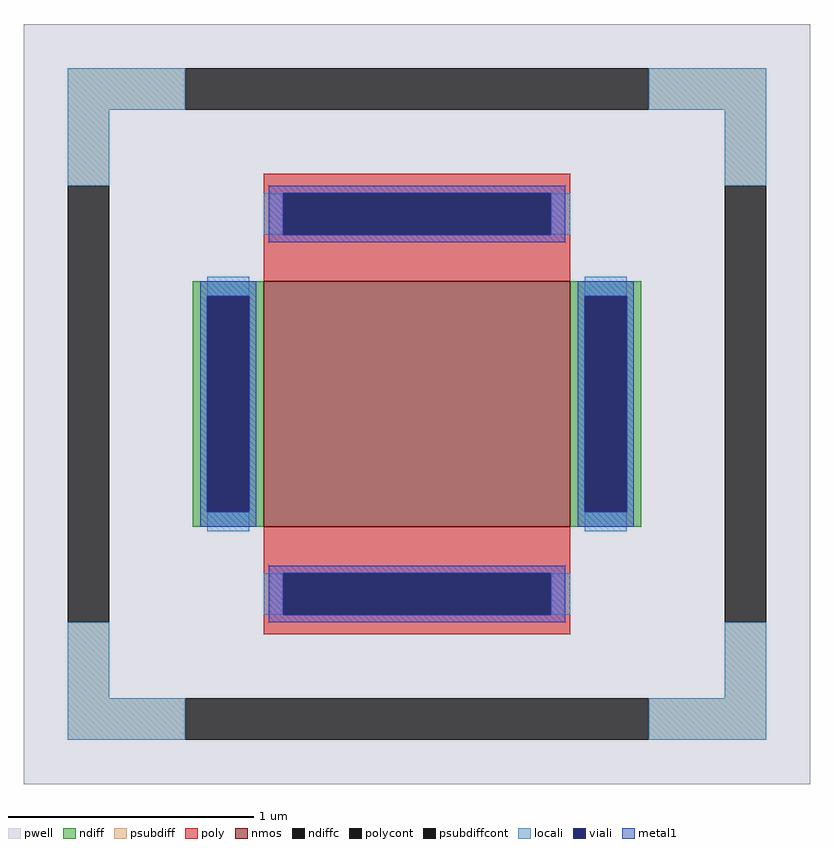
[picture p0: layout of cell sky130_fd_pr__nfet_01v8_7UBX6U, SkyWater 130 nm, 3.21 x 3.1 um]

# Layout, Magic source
magic
tech sky130A
magscale 1 2
<< pwell >>
rect -321 -310 321 310
<< nmos >>
rect -125 -100 125 100
<< ndiff >>
rect -183 88 -125 100
rect -183 -88 -171 88
rect -137 -88 -125 88
rect -183 -100 -125 -88
rect 125 88 183 100
rect 125 -88 137 88
rect 171 -88 183 88
rect 125 -100 183 -88
<< ndiffc >>
rect -171 -88 -137 88
rect 137 -88 171 88
<< psubdiff >>
rect -285 240 -189 274
rect 189 240 285 274
rect -285 178 -251 240
rect 251 178 285 240
rect -285 -240 -251 -178
rect 251 -240 285 -178
rect -285 -274 -189 -240
rect 189 -274 285 -240
<< psubdiffcont >>
rect -189 240 189 274
rect -285 -178 -251 178
rect 251 -178 285 178
rect -189 -274 189 -240
<< poly >>
rect -125 172 125 188
rect -125 138 -109 172
rect 109 138 125 172
rect -125 100 125 138
rect -125 -138 125 -100
rect -125 -172 -109 -138
rect 109 -172 125 -138
rect -125 -188 125 -172
<< polycont >>
rect -109 138 109 172
rect -109 -172 109 -138
<< locali >>
rect -285 240 -189 274
rect 189 240 285 274
rect -285 178 -251 240
rect 251 178 285 240
rect -125 138 -109 172
rect 109 138 125 172
rect -171 88 -137 104
rect -171 -104 -137 -88
rect 137 88 171 104
rect 137 -104 171 -88
rect -125 -172 -109 -138
rect 109 -172 125 -138
rect -285 -240 -251 -178
rect 251 -240 285 -178
rect -285 -274 -189 -240
rect 189 -274 285 -240
<< viali >>
rect -109 138 109 172
rect -171 -88 -137 88
rect 137 -88 171 88
rect -109 -172 109 -138
<< metal1 >>
rect -121 172 121 178
rect -121 138 -109 172
rect 109 138 121 172
rect -121 132 121 138
rect -177 88 -131 100
rect -177 -88 -171 88
rect -137 -88 -131 88
rect -177 -100 -131 -88
rect 131 88 177 100
rect 131 -88 137 88
rect 171 -88 177 88
rect 131 -100 177 -88
rect -121 -138 121 -132
rect -121 -172 -109 -138
rect 109 -172 121 -138
rect -121 -178 121 -172
<< properties >>
string FIXED_BBOX -268 -257 268 257
string gencell sky130_fd_pr__nfet_01v8
string library sky130
string parameters w 1.0 l 1.25 m 1 nf 1 diffcov 100 polycov 100 guard 1 glc 1 grc 1 gtc 1 gbc 1 tbcov 100 rlcov 100 topc 1 botc 1 poverlap 0 doverlap 1 lmin 0.15 wmin 0.42 compatible {sky130_fd_pr__nfet_01v8 sky130_fd_pr__nfet_01v8_lvt  sky130_fd_bs_flash__special_sonosfet_star  sky130_fd_pr__nfet_g5v0d10v5 sky130_fd_pr__nfet_05v0_nvt  sky130_fd_pr__nfet_03v3_nvt} full_metal 1 viasrc 100 viadrn 100 viagate 100 viagb 0 viagr 0 viagl 0 viagt 0
<< end >>
